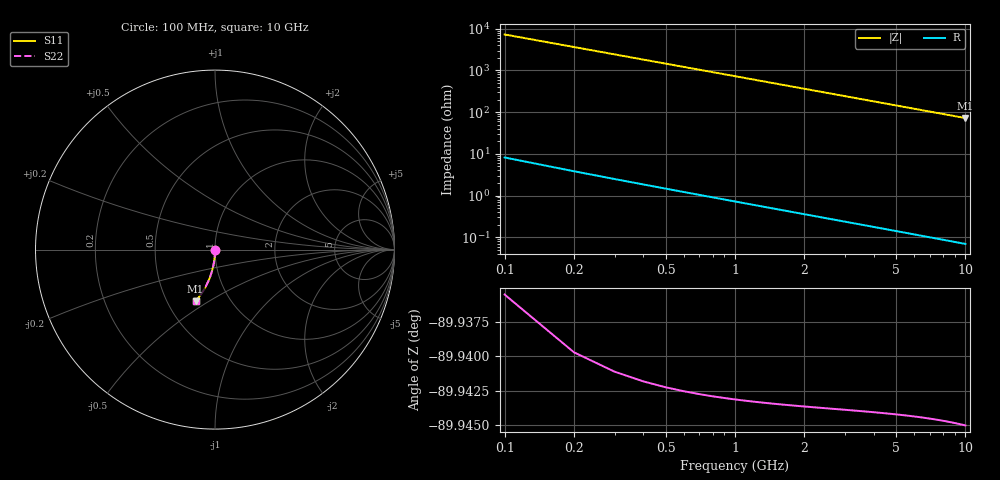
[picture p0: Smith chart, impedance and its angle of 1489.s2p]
# Hz S RI R 50.00
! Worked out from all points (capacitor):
!   100 points, 100 MHz to 10 GHz, reference 50 ohm
!   read as one part in shunt: C = 219 fF near 100 MHz
!   lowest |Z| = 72.1 ohm at 10 GHz (marker M1)
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1e8  5.35e-05 -0.0032  0.9999 -0.00367  0.9999 -0.00367  5.35e-05 -0.0032
2e8  1.53e-05 -0.00641  0.9999 -0.00734  0.9999 -0.00734  1.53e-05 -0.00641
3e8  -4.65e-05 -0.00961  0.9998 -0.011  0.9998 -0.011  -4.65e-05 -0.00961
4e8  -0.000132 -0.0128  0.9997 -0.0147  0.9997 -0.0147  -0.000132 -0.0128
5e8  -0.000241 -0.016  0.9996 -0.0184  0.9996 -0.0184  -0.000241 -0.016
6e8  -0.000374 -0.0192  0.9995 -0.022  0.9995 -0.022  -0.000374 -0.0192
7e8  -0.00053 -0.0224  0.9993 -0.0257  0.9993 -0.0257  -0.00053 -0.0224
8e8  -0.000709 -0.0256  0.9991 -0.0294  0.9991 -0.0294  -0.000709 -0.0256
9e8  -0.000912 -0.0288  0.9989 -0.033  0.9989 -0.033  -0.000912 -0.0288
1.1e9  -0.00139 -0.0352  0.9985 -0.0404  0.9985 -0.0404  -0.00139 -0.0352
1.4e9  -0.00228 -0.0448  0.9976 -0.0513  0.9976 -0.0513  -0.00228 -0.0448
1.8e9  -0.0038 -0.0575  0.996 -0.066  0.996 -0.066  -0.0038 -0.0575
2.1e9  -0.00518 -0.067  0.9946 -0.0769  0.9946 -0.0769  -0.00518 -0.067
2.5e9  -0.00735 -0.0796  0.9924 -0.0914  0.9924 -0.0914  -0.00735 -0.0796
2.9e9  -0.00988 -0.0922  0.9899 -0.1058  0.9899 -0.1058  -0.00988 -0.0922
3.4e9  -0.0136 -0.1077  0.9862 -0.1237  0.9862 -0.1237  -0.0136 -0.1077
4.2e9  -0.0206 -0.1323  0.9791 -0.152  0.9791 -0.152  -0.0206 -0.1323
5.1e9  -0.0302 -0.1592  0.9694 -0.1832  0.9694 -0.1832  -0.0302 -0.1592
5.9e9  -0.0401 -0.1824  0.9594 -0.2102  0.9594 -0.2102  -0.0401 -0.1824
6.7e9  -0.0512 -0.2048  0.9481 -0.2365  0.9481 -0.2365  -0.0512 -0.2048
8.4e9  -0.0787 -0.2495  0.9204 -0.2894  0.9204 -0.2894  -0.0787 -0.2495
1e10  -0.1084 -0.2874  0.8902 -0.3351  0.8902 -0.3351  -0.1084 -0.2874
